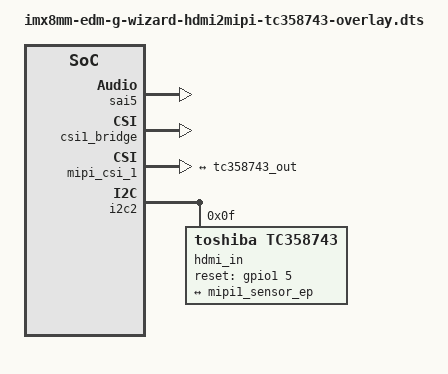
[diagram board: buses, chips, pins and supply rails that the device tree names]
// SPDX-License-Identifier: (GPL-2.0+ OR MIT)
/*
 * Copyright 2020 TechNexion Ltd.
 *
 * Author: Richard Hu <richard.hu@technexion.com>
 *         Ray Chang <ray.chang@technexion.com>
 *
 */

/dts-v1/;
/plugin/;

#include <dt-bindings/interrupt-controller/irq.h>
#include <dt-bindings/clock/imx8mm-clock.h>
#include <dt-bindings/gpio/gpio.h>

/ {
	fragment@0 {
		target-path = "/";
		__overlay__ {
			sound-tc358743 {
				compatible = "nxp,imx-audio-tc358743", "nxp,imx-tc358743";
				cpu-dai = <&sai5>;
				nxp,audio-codec = <&hdmi_in>;
				clocks = <&clk IMX8MM_CLK_SAI5>;
			};
		};
	};

	fragment@1 {
		/* AUD_B */
		target = <&sai5>;
		__overlay__ {
			status = "okay";
		};
	};

	fragment@2 {
		target = <&csi1_bridge>;
		__overlay__ {
			status = "okay";
		};
	};

	fragment@3 {
		target = <&mipi_csi_1>;
		__overlay__ {
			status = "okay";
			#address-cells = <1>;
			#size-cells = <0>;

			port {
				mipi1_sensor_ep: endpoint@1 {
					remote-endpoint = <&tc358743_out>;
					data-lanes = <4>;
					csis-hs-settle = <13>;
					csis-clk-settle = <2>;
					csis-wclk;
				};
			};
		};
	};

	fragment@4 {
		target = <&i2c2>;
		__overlay__ {
			#address-cells = <1>;
			#size-cells = <0>;
			status = "okay";

			hdmi_in: tc358743@f {
				compatible = "toshiba,tc358743";
				reg = <0x0f>;
				pinctrl-names = "default";
				pinctrl-0 = <&pinctrl_csi_rst>;
				reset-gpios = <&gpio1 5 GPIO_ACTIVE_HIGH>;
				status = "okay";

				port {
					tc358743_out: endpoint {
						remote-endpoint = <&mipi1_sensor_ep>;
						data-lanes = <1 2 3 4>;
						clock-lanes = <0>;
						clock-noncontinuous;
						link-frequencies = /bits/ 64 <297000000>;
					};
				};
			};
		};
	};


};
